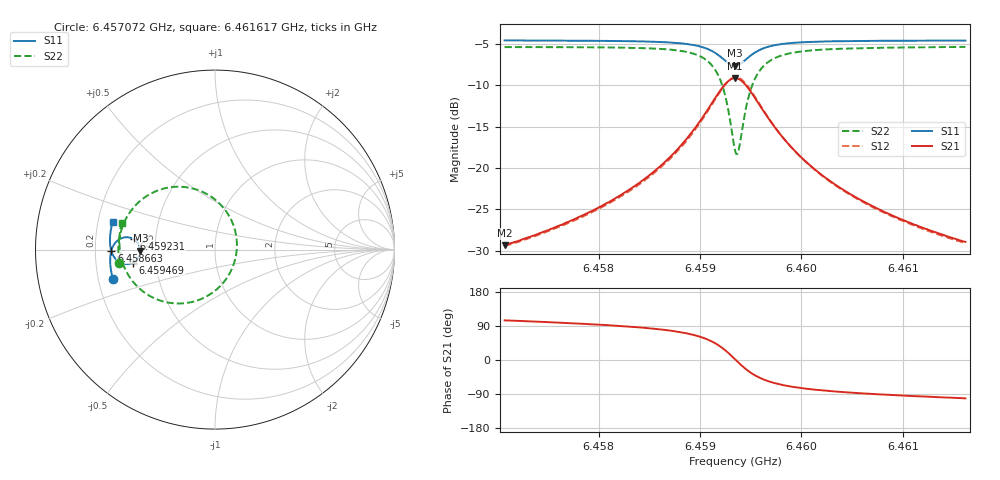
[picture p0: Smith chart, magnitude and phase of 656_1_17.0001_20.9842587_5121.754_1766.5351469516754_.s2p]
#  HZ  S  RI  R  50.00
! Rohde & Schwarz Vector Network Analyzer
! Rohde-Schwarz,ZNB20-2Port,1311601062101988,3.16
! Created: UTC 3/20/2024, 11:21:26 PM
! freq[Hz]  re:S11  im:S11  re:S21  im:S21  re:S12  im:S12  re:S22  im:S22
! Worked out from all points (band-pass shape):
!   401 points, 6.457072 GHz to 6.461617 GHz, reference 50 ohm
!   highest |S21| = -9.11 dB at 6.459344 GHz (marker M1); lowest = -29.4 dB at 6.457072 GHz (marker M2)
!   |S21| within 3 dB of the highest: 6.459118 GHz to 6.459573 GHz (454.6 kHz wide, 0.00704 % of centre)
!   lowest |S11| = -7.6 dB at 6.459344 GHz (marker M3), VSWR 2.42, Z = 20.6 - j0.294 ohm
!   |S11| at or under -10 dB: nowhere
!   |S22| runs from -18.3 to -5.3 dB; largest |S21 - S12| = 0.014
!   S11 on the Smith chart (normalised r, x): 6.457072 GHz: 0.26, -0.13; 6.458663 GHz: 0.27, -0.00; 6.459231 GHz: 0.37, +0.05; 6.459469 GHz: 0.37, -0.07; 6.461617 GHz: 0.26, +0.12
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6.4570716e9  -0.5688 -0.1649  -0.00863 0.0329  -0.0068 0.0329  -0.5344 -0.0763
6.457833e9  -0.5818 -0.098  -0.0051 0.0511  -0.00243 0.0504  -0.5383 0.0138
6.4582535e9  -0.5841 -0.0555  0.00118 0.0708  0.00451 0.0693  -0.5292 0.0812
6.4585944e9  -0.5799 -0.0146  0.0156 0.0999  0.0195 0.097  -0.5026 0.1592
6.4586626e9  -0.5775 -0.00506  0.0209 0.1082  0.025 0.1049  -0.4921 0.1791
6.4588558e9  -0.5646 0.0252  0.048 0.1392  0.0521 0.134  -0.4412 0.2483
6.4590035e9  -0.5416 0.0514  0.094 0.1697  0.0972 0.1628  -0.3564 0.3126
6.4591399e9  -0.4971 0.0687  0.1821 0.1857  0.1828 0.1783  -0.1951 0.3502
6.4592308e9  -0.4522 0.0581  0.2728 0.154  0.2727 0.148  -0.027 0.2985
6.459299e9  -0.423 0.0256  0.3336 0.081  0.3358 0.0758  0.0897 0.167
6.4593445e9  -0.4158 -0.00589  0.3501 0.0122  0.3539 0.0054  0.1221 0.0379
6.4593786e9  -0.4199 -0.0299  0.3441 -0.041  0.3482 -0.0501  0.1102 -0.0631
6.459424e9  -0.4357 -0.0564  0.315 -0.1017  0.3174 -0.1137  0.0514 -0.1783
6.4594695e9  -0.4581 -0.073  0.2722 -0.1433  0.2714 -0.1569  -0.0358 -0.2543
6.4595604e9  -0.5021 -0.0799  0.1858 -0.1745  0.1793 -0.1863  -0.2083 -0.3005
6.4596286e9  -0.5267 -0.0726  0.1364 -0.1723  0.1284 -0.1813  -0.3034 -0.2846
6.4597081e9  -0.5465 -0.0593  0.0964 -0.1599  0.0876 -0.1661  -0.3787 -0.249
6.4598672e9  -0.5682 -0.0313  0.051 -0.1311  0.0432 -0.1339  -0.46 -0.175
6.4601059e9  -0.5808 0.00433  0.0217 -0.0988  0.0157 -0.0994  -0.5077 -0.0911
6.4604582e9  -0.5852 0.0465  0.00562 -0.0708  0.00135 -0.0703  -0.5294 -0.00901
6.4608673e9  -0.583 0.0877  -0.00189 -0.0526  -0.00481 -0.0516  -0.5327 0.0573
6.4616173e9  -0.5707 0.1543  -0.00687 -0.035  -0.00861 -0.034  -0.5208 0.1469
